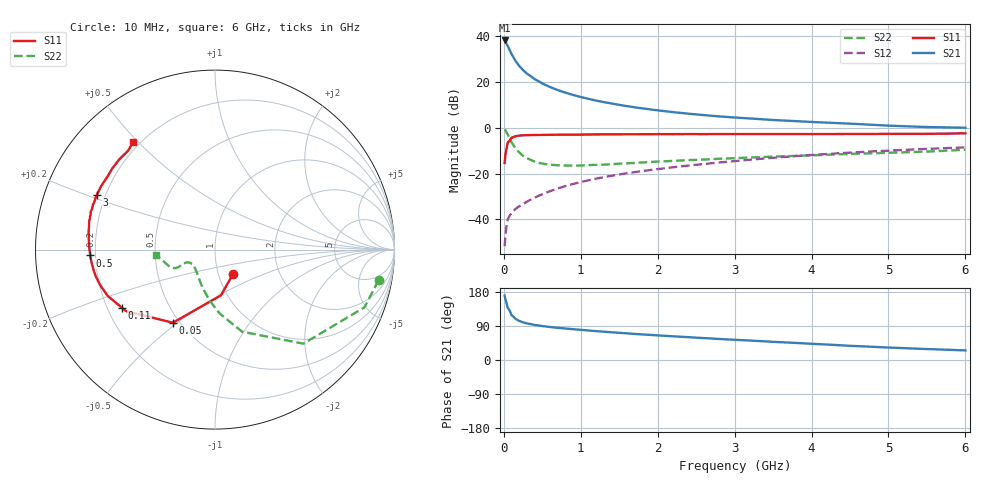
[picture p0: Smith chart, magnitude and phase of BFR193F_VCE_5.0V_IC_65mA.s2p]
! (c) 2017  Infineon Technologies AG, Munich
! Infineon Technologies  Discrete & RF Semiconductors
! BFR193F
! VCE =  5.0 V,  IC =  65 mA
! Common Emitter S-Parameters:  Jan 2017
# GHz  S  MA  R  50
!  f  S11  S21  S12  S22
! GHz  MAG  ANG  MAG  ANG  MAG  ANG  MAG  ANG
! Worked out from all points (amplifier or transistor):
!   77 points, 10 MHz to 6 GHz, reference 50 ohm
!   highest |S21| = 38.0 dB at 10 MHz (marker M1)
!   |S21| within 3 dB of that: start of sweep to 59.78 MHz
!   unconditionally stable (mu >= 1): 719.2 MHz to 2.459 GHz
!   at 130 MHz: K = 0.55, MSG = 33.3 dB, |S12| = -36.1 dB
!   at 2.2 GHz: K = 1.01, MAG = 11.3 dB, |S12| = -17.3 dB
!   at 6 GHz: K = 0.86, MSG = 4.3 dB, |S12| = -8.6 dB
!   S11 on the Smith chart (normalised r, x): 10 MHz: 1.17, -0.33; 50 MHz: 0.46, -0.48; 110 MHz: 0.26, -0.27; 500 MHz: 0.18, -0.02; 3 GHz: 0.17, +0.22; 6 GHz: 0.18, +0.48
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0.01  0.1697 -53.9  79.88 170.1  0.0026 84.4  0.9271 -10.6
0.02  0.2574 -82.7  76.36 160.3  0.0043 81.5  0.893 -21.1
0.05  0.4705 -120.0  61.03 138.1  0.0099 64.2  0.7189 -46.8
0.1  0.6029 -145.4  40.16 118.3  0.0139 54.2  0.4819 -71.7
0.11  0.6106 -147.8  37.83 116.9  0.0145 54.2  0.455 -73.9
0.15  0.6514 -156.7  28.84 108.8  0.0168 54.3  0.3566 -85.9
0.2  0.6699 -162.9  22.22 103.1  0.0193 57.2  0.2882 -95.5
0.25  0.6807 -167.3  18 99.4  0.0215 59.7  0.2423 -103.6
0.3  0.6859 -170.2  15.14 96.6  0.0243 61.4  0.2163 -109.7
0.4  0.692 -174.4  11.46 92.5  0.0297 65.8  0.1816 -119.9
0.5  0.6959 -177.3  9.211 89.6  0.0353 69.0  0.1645 -127.4
0.6  0.6981 -179.3  7.712 87.1  0.0411 70.6  0.1553 -133.6
0.7  0.7017 178.6  6.627 84.9  0.0471 71.8  0.1514 -138.0
0.9  0.7059 175.3  5.176 81.3  0.0591 73.5  0.1484 -145.1
1.1  0.7096 172.8  4.249 77.8  0.0712 74.6  0.1526 -148.8
1.5  0.7166 168.3  3.146 71.8  0.0952 74.8  0.1639 -154.0
2.1  0.7227 162.4  2.284 63.8  0.1307 74.2  0.1851 -156.0
3  0.7255 155.0  1.666 53.3  0.1861 72.3  0.2161 -154.5
3.1  0.7254 154.1  1.626 52.3  0.193 71.9  0.2196 -154.5
4.1  0.7246 145.3  1.31 41.8  0.2599 67.4  0.2524 -156.0
5.1  0.7326 135.6  1.092 32.1  0.3218 61.6  0.2867 -165.0
6  0.7521 127.2  0.997 25.3  0.3716 56.2  0.3295 -174.5
